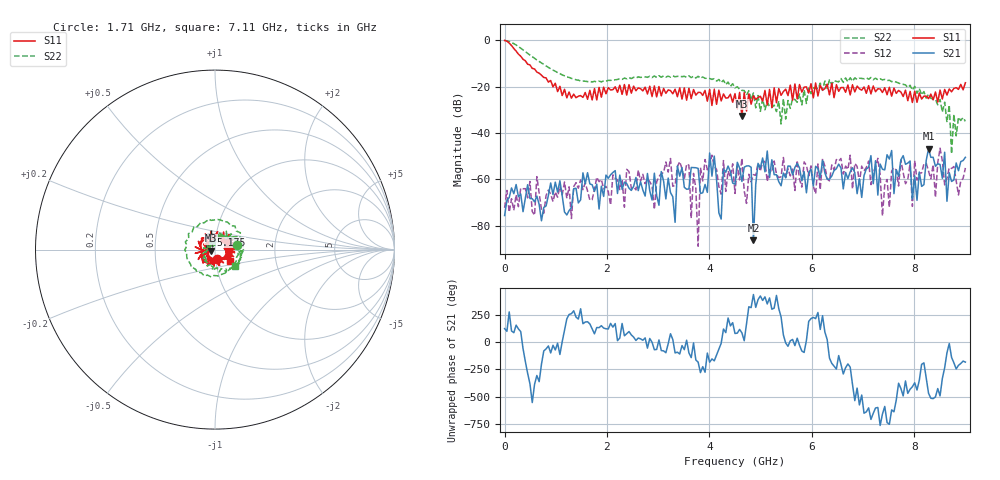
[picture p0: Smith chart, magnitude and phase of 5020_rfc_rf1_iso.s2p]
!Agilent Technologies,E8358A,US40210021,A.06.04.30
!Agilent E8358A: A.06.04.30
!Date: Saturday, April 21, 2018 14:29:28
!Correction: S11(Full 2 Port(1,2)) S21(Full 2 Port(1,2)) S12(Full 2 Port(1,2)) S22(Full 2 Port(1,2))
!S2P File: Measurements: S11, S21, S12, S22:
# Hz S  RI  R 50
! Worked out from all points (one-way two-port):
!   201 points, 300 kHz to 9 GHz, reference 50 ohm
!   highest |S21| = -46.74 dB at 8.28 GHz (marker M1); lowest = -86.3 dB at 4.86 GHz (marker M2)
!   lowest |S11| = -32.6 dB at 4.635 GHz (marker M3), VSWR 1.05, Z = 47.8 - j0.513 ohm
!   |S11| at or under -10 dB: 442.1 MHz to end of sweep
!   |S22| runs from -49.0 to 0.0 dB; largest |S21 - S12| = 0.0048
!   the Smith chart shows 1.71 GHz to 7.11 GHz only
!   S11 on the Smith chart (normalised r, x): 1.71 GHz: 1.02, -0.10; 5.175 GHz: 0.94, +0.16; 7.11 GHz: 1.18, -0.15
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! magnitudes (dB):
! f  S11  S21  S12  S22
! 300 kHz  0.0  -75.6  -72.2  0.0
! 1.53 GHz  -24.6  -57.2  -64.4  -17.5
! 1.71 GHz  -25.7  -62.3  -68.7  -17.9
! 3.015 GHz  -19.9  -71.1  -58.8  -15.3
! 3.6 GHz  -20.7  -64.1  -53.9  -15.3
! 3.645 GHz  -25.1  -54.8  -76.7  -16.0
! 3.78 GHz  -22.4  -55.2  -88.8  -15.5
! 3.915 GHz  -21.6  -62.2  -51.4  -16.4
! 4.5 GHz  -22.9  -62.0  -66.0  -20.5
! 4.635 GHz  -32.6  -60.8  -50.9  -21.5
! 4.815 GHz  -27.5  -54.7  -61.0  -25.7
! 4.86 GHz  -23.8  -86.3  -57.9  -22.7
! 4.95 GHz  -24.6  -53.0  -53.0  -23.8
! 5.175 GHz  -21.2  -59.2  -55.8  -28.6
! 6.03 GHz  -24.8  -62.8  -62.8  -20.4
! 7.11 GHz  -19.5  -54.8  -52.1  -16.8
! 7.515 GHz  -20.2  -51.2  -72.1  -17.2
! 8.055 GHz  -26.7  -69.0  -60.3  -22.8
! 8.28 GHz  -25.1  -46.7  -56.4  -23.2
! 8.595 GHz  -21.1  -48.3  -62.3  -26.6
! 8.64 GHz  -23.6  -69.4  -59.5  -35.3
! 9 GHz  -18.3  -50.4  -55.0  -34.9
